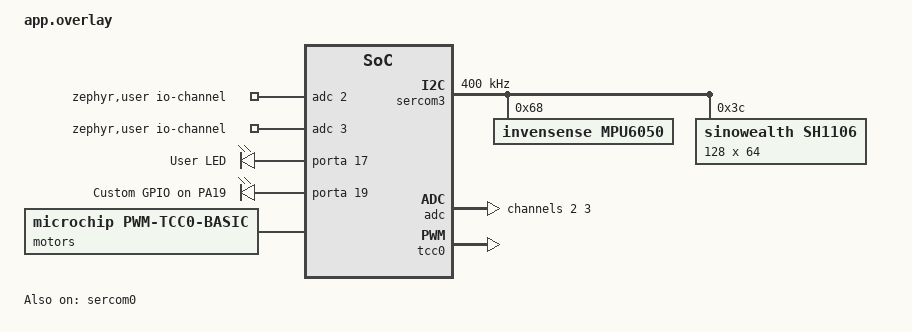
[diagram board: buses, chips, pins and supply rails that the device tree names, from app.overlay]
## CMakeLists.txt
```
cmake_minimum_required(VERSION 3.20)
find_package(Zephyr REQUIRED HINTS $ENV{ZEPHYR_BASE})
message(STATUS ">> Zephyr found at: ${ZEPHYR_BASE}")
message(STATUS ">> Using Board: ${BOARD}")
project(zbot12)
target_sources(app PRIVATE src/main.c)
```

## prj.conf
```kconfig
CONFIG_GPIO=y
# Enable UART Driver
CONFIG_SERIAL=y
#CONFIG_FPU=y
CONFIG_CBPRINTF_FP_SUPPORT=y

CONFIG_PWM=y
CONFIG_PWM_SAM0_TCC=y
#CONFIG_PWM_SAM0=y



# Direct printk and shell to the console
CONFIG_CONSOLE=y
CONFIG_UART_CONSOLE=y
CONFIG_RING_BUFFER=y
CONFIG_UART_INTERRUPT_DRIVEN=y

CONFIG_I2C=y
CONFIG_SENSOR=y
CONFIG_MPU6050=y
CONFIG_DISPLAY=y
CONFIG_SSD1306=y
#CONFIG_SH1106=y
#CONFIG_CFB_FONT_0508=y
CONFIG_CHARACTER_FRAMEBUFFER_USE_DEFAULT_FONTS=y


CONFIG_ADC=y

# If using LVGL for the UI:
#CONFIG_LVGL=y

CONFIG_LED=y
#CONFIG_LED_PWM=y


CONFIG_CHARACTER_FRAMEBUFFER=y
CONFIG_CHARACTER_FRAMEBUFFER_SHELL=n

CONFIG_HEAP_MEM_POOL_SIZE=2048

# add floating point printf support
#CONFIG_PICOLIBC=y
#CONFIG_PICOLIBC_IO_FLOAT=y

CONFIG_NEWLIB_LIBC=y
CONFIG_NEWLIB_LIBC_FLOAT_PRINTF=y
```

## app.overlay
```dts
/*
#include <zephyr/dt-bindings/gpio/gpio.h>
#include <zephyr/dt-bindings/pwm/pwm.h>
*/


/* this version works with the sh1106 1.3" OLED display */


/ {
	chosen {
		zephyr,console = &sercom0;
		zephyr,shell-uart = &sercom0;

		/* Link LVGL to the OLED */
		zephyr,display = &sh1106;
		/* zephyr,display = &ssd1306; */
	};

	aliases {
		led0 = &user_led;
		blip0 = &blip_gpio;
		motorleft = &motor_left;
		motorright = &motor_right;
	};

	
    zephyr,user {
        /* Map user aliases to the two ADC channels */
        io-channels = <&adc 2>, <&adc 3>;
    };



	leds {
		compatible = "gpio-leds";

		user_led: led_0 {
			gpios = <&porta 17 GPIO_ACTIVE_HIGH>;
			label = "User LED";
		};

		blip_gpio: custom_gpio_0 {
			gpios = <&porta 19 GPIO_ACTIVE_HIGH>;
			label = "Custom GPIO on PA19";
		};
	};

	motors {
		

		compatible = "microchip,pwm-tcc0-basic";
		status = "okay";
		
		motor_left: motor_left {
			/* PA08 20 kHz */
			pwms = <&tcc0 0 PWM_USEC(100)>;
			/* PA15 */
			dir-gpios = <&porta 15 GPIO_ACTIVE_HIGH>;
		};

		motor_right: motor_right {
			/* PA09 - 20 kHz */
			pwms = <&tcc0 1 PWM_USEC(100)>;
			/* PA20 */
			dir-gpios = <&porta 20 GPIO_ACTIVE_HIGH>;
		};
	};
};

&sercom0 {
	status = "okay";
	current-speed = <115200>;
	rxpo = <3>;
	txpo = <1>;

	pinctrl-0 = <&sercom0_uart_custom>;
	pinctrl-names = "default";
};

&sercom3 {
	status = "okay";
	compatible = "atmel,sam0-i2c";
	/* clock-frequency = <I2C_BITRATE_STANDARD>;*/
	clock-frequency = <400000>;
	#address-cells = <1>;
	#size-cells = <0>;

	mpu6050@68 {
		compatible = "invensense,mpu6050";
		reg = <0x68>;
		status = "okay";
	};

	/* ssd1306: ssd1306@3c */
	sh1106: ssd1306@3c {
		compatible = "sinowealth,sh1106";
		reg = <0x3c>;
		width = <128>;
		height = <64>;
		/* segment-offet = 0 for 0.96", 2 for SSH1106 */
		segment-offset = <2>;
		page-offset = <0>;
		display-offset = <0>;
		multiplex-ratio = <63>;
		prechargep = <0x22>;
		com-invdir;
		segment-remap;
		status = "okay";
	};
};




&adc {
    status = "okay";
	pinctrl-0 = <&adc_default>;
    pinctrl-names = "default";
    #address-cells = <1>;
    #size-cells = <0>;

    /* Channel 0: Sensor 1 on PB08 (AIN2) */
    channel@2 {
        reg = <2>;
        zephyr,gain = "ADC_GAIN_1";
        zephyr,reference = "ADC_REF_VDD_1_2"; /* VDDANA / 2 */
        zephyr,vref-mv = <1650>;
        zephyr,acquisition-time = <ADC_ACQ_TIME_DEFAULT>;
        zephyr,resolution = <12>;
        zephyr,oversampling = <2>; /* single sample for now */
        zephyr,input-positive = <2>; /* AIN2 -> PB08 */
    };

    /* Channel 1: Sensor 2 on PB09 (AIN3) */
    channel@3 {
        reg = <3>;
        zephyr,gain = "ADC_GAIN_1";
        zephyr,reference = "ADC_REF_VDD_1_2"; /* VDDANA / 2 */
        zephyr,vref-mv = <1650>;
        zephyr,acquisition-time = <ADC_ACQ_TIME_DEFAULT>;
        zephyr,resolution = <12>;
        zephyr,oversampling = <2>; /* single sample for now */
        zephyr,input-positive = <3>; /* AIN3 -> PB09 */
    };
};



&tcc0 {
	compatible = "atmel,sam0-tcc-pwm";
	status = "okay";
	prescaler = <8>;
	#pwm-cells = <2>;
	pinctrl-0 = <&tcc0_default>;
	pinctrl-names = "default";
};

&pinctrl {
	sercom0_uart_custom: sercom0_uart_custom {
		group1 {
			pinmux = <PA11C_SERCOM0_PAD3>,
				 <PA10C_SERCOM0_PAD2>;
		};
	};

	tcc0_default: tcc0_default {
		group1 {
			pinmux = <PA8E_TCC0_WO0>,
				 <PA9E_TCC0_WO1>;
		};
	};

	adc_default: adc_default {
		group1 {
			pinmux = <PB8B_ADC_AIN2>,
				 <PB9B_ADC_AIN3>;
		};
	};
};
```

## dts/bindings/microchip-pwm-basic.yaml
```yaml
description: pwm motor controller

compatible: "microchip,pwm-tcc0-basic"

child-binding:
  properties:
    pwms:
      type: phandle-array
      required: true

    dir-gpios:
      type: phandle-array
      required: true
```

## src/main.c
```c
/*
    project : zbot11
    version 1.2 with custom yaml binding to fix tcc0
    IR bounded roaming / no balance
    
    aug 2026


*/

#include <zephyr/device.h>
#include <zephyr/devicetree.h>
#include <zephyr/drivers/gpio.h>
#include <zephyr/drivers/pinctrl.h>
#include <zephyr/drivers/pwm.h>
#include <zephyr/drivers/adc.h>
#include <zephyr/drivers/sensor.h>
#include <zephyr/drivers/uart.h>
#include <zephyr/kernel.h>
#include <zephyr/sys/printk.h>

#include <math.h>
#include <stdio.h>
#include <zephyr/display/cfb.h>
#include <zephyr/drivers/display.h>



uint64_t  now,last_scan,last_update;

uint64_t  UPDATE_INTYERVAL = 1000; // display update rate
uint64_t  SCAN_INTERVAL = 2000;   // 500ms  IMU scan update

// global PID loop data
float pid_output;
float setpoint_angle,current_angle;


char oled_string[16];
uint32_t scan_count;
double imu_angle;
double bat_volt = 6.2;
int16_t ir_val,bat_lvl;


void gpio_init(void);
void update_oled(void);
void set_oled_font(void);
void blinky(void);
void serial_debug(void);
void pwm_init(void);
void set_motor_left(int power);
void set_motor_right(int power);
void roam(void);
void stop(void);
void foward(void);
void backward(void);
void turn_right(void);
void turn_left(void);

void adc_init(void);
void scan_adc(void);
uint16_t read_ir_sensor(void);
uint16_t read_bat_voltage(void);




void pwm_test(void);




// all of these global for now
static const struct gpio_dt_spec led = GPIO_DT_SPEC_GET(DT_ALIAS(led0), gpios);
static const struct gpio_dt_spec blip =
    GPIO_DT_SPEC_GET(DT_ALIAS(blip0), gpios);

const struct device *const imu_dev = DEVICE_DT_GET_ANY(invensense_mpu6050);
const struct device *display_dev = DEVICE_DT_GET(DT_CHOSEN(zephyr_display));

/* Define the structures for the Left Motor */
static const struct pwm_dt_spec pwm_l = PWM_DT_SPEC_GET(DT_ALIAS(motorleft));
static const struct gpio_dt_spec dir_l =
    GPIO_DT_SPEC_GET(DT_ALIAS(motorleft), dir_gpios);

/* Define the structures for the Right Motor */
static const struct pwm_dt_spec pwm_r = PWM_DT_SPEC_GET(DT_ALIAS(motorright));
static const struct gpio_dt_spec dir_r =
    GPIO_DT_SPEC_GET(DT_ALIAS(motorright), dir_gpios);


// adsc channels
static const struct adc_dt_spec adc_channel_1 = ADC_DT_SPEC_GET_BY_IDX(DT_PATH(zephyr_user), 0);
static const struct adc_dt_spec adc_channel_2 = ADC_DT_SPEC_GET_BY_IDX(DT_PATH(zephyr_user), 1);

static int16_t sample_buffer1;
static int16_t sample_buffer2;

static struct adc_sequence sequence_1 = {
	.buffer = &sample_buffer1,
	.buffer_size = sizeof(sample_buffer1),
};

static struct adc_sequence sequence_2 = {
	.buffer = &sample_buffer2,
	.buffer_size = sizeof(sample_buffer2),
};




static inline void blip_on(void) {gpio_pin_set_dt(&blip, 1);}
static inline void blip_off(void) {gpio_pin_set_dt(&blip, 0);}

void main(void) 
{

  last_scan = 0;

  gpio_init();
  pwm_init();
  stop();
  adc_init();

  cfb_framebuffer_init(display_dev);

  /*
  if (!device_is_ready(display_dev)) 
  {

    printf("Device %s is not ready\n", display_dev->name);
    // error_blink();
    return;
  }

  if (!device_is_ready(imu_dev)) {
    printf(" %s is not ready\n", imu_dev->name);
    
    // error_blink();
    
    return;
  }
*/
  

  // clear framebuffer
  // 5X8 font not being compiled in, no reason found yet 2026.06.29
  // set_oled_font();
  
  cfb_framebuffer_clear(display_dev, true);
  cfb_framebuffer_finalize(display_dev);

  cfb_print(display_dev, "Hello", 1, 1);
  cfb_framebuffer_finalize(display_dev);

  // printf("hello\r\n");

  // pwm_test();


  while(1)
    {
      
      now = k_uptime_get();

      if((now - last_scan) > SCAN_INTERVAL)
        {
          scan_count++;
          last_scan = now;
          printf("scan:%05u: \r\n",scan_count);

          scan_adc();
          // roam();
          // bat_lvl = read_bat_voltage();
          // update_oled();
          blinky();
        }  


    }  // end while 1
  
} // end main



void pwm_test(void)
{

  
  printf("pwm test 1 - 5s motor right f 25 motor left 0\r\n");
  
  set_motor_right(25);
  set_motor_left(0);

  k_sleep(K_MSEC(5000));

  set_motor_right(0);
  set_motor_left(0);

  printf("end pwm test 1\r\n");

  printf("pwm test 2 - 5s motor right 0 motor left 25 f \r\n");
  
  set_motor_right(0);
  set_motor_left(-25);

  k_sleep(K_MSEC(5000));
  
  set_motor_right(0);
  set_motor_left(0);

  printf("end test 2\r\n");

  printf("test 3 - foward both wheels\r\n");
  set_motor_right(35);
  set_motor_left(-35);

  k_sleep(K_MSEC(5000));

  set_motor_right(0);
  set_motor_left(0);
  
  printf("end pwm test 3\r\n");


}


#define FWD_SPEED   35
#define REV_SPEED   35

void stop(void)
{

  set_motor_right(0);
  set_motor_left(0);

}

void foward(void)
{

  set_motor_right(FWD_SPEED);
  set_motor_left(-FWD_SPEED);

}


void backward(void)
{

  set_motor_right(-REV_SPEED);
  set_motor_left(REV_SPEED);
  
}


void turn_right(void)
{
  
  set_motor_left(-FWD_SPEED);
  set_motor_right(0);
  k_sleep(K_MSEC(500));

}


void turn_left(void)
{
  
  set_motor_left(0);
  set_motor_right(FWD_SPEED);
  k_sleep(K_MSEC(500));

}


#define ROAM_START          1
#define ROAM_FORWARD        2
#define ROAM_WALL_DETECT    3
#define ROAM_RECOVER        4
#define ROAM_STOP           5


uint8_t roam_state = ROAM_START;
// prox detect adc count for 60mm target distance
// keep in ADC counts, no need to convert to millivolts since everything is relative
#define PROX_LIMIT  1800    


void roam(void)
{

  switch(roam_state)
    {

        case ROAM_START:    // check forward path, go into RECOVER mode if needed
          if(read_ir_sensor() > PROX_LIMIT)
            roam_state = ROAM_WALL_DETECT;
          else 
            {
              // start moving forward
              foward();
              roam_state = ROAM_FORWARD;
            }

        break;
        
        

      case ROAM_FORWARD:    // move forward intil we detetc something
            if(read_ir_sensor() > PROX_LIMIT)
              {
                
                stop();
                roam_state = ROAM_WALL_DETECT;
              }
     
        break;



      case ROAM_WALL_DETECT:
         backward();
         k_sleep(K_MSEC(500));
         stop();
         k_sleep(K_MSEC(100));
         turn_left();
         // k_sleep(K_MSEC(500));    
         stop();
         k_sleep(K_MSEC(100));    
         foward();
         roam_state = ROAM_FORWARD;
         break;

      default:  // should vever get here
          stop();

    } // end switch (roam_state)


} // end roam


void adc_init(void)
{
  int ret;
  
  ret = adc_channel_setup_dt(&adc_channel_1);
  if(ret != 0)
  {
  
    printf("adc_init fail %d\r\n",ret);
    while(1);
  }
  printf("chan 1 %d\r\n",ret);
  adc_sequence_init_dt(&adc_channel_1, &sequence_1);


  ret = adc_channel_setup_dt(&adc_channel_2);
  if(ret != 0)
  {
  
    printf("adc_init fail %d\r\n",ret);
    while(1);
  }

  printf("chan 2 %d\r\n",ret);
  adc_sequence_init_dt(&adc_channel_2, &sequence_2);

}

void scan_adc(void)
{
  int ret1,ret2,ret3;
  
  ret1 = adc_channel_setup_dt(&adc_channel_1);
  ret2 = adc_sequence_init_dt(&adc_channel_1, &sequence_1);
  ret3 = adc_read(adc_channel_1.dev, &sequence_1);

  printf("sts1 %d sts2 %d sts3 %d   sample_buffer 1 %d\r\n",ret1,ret2,ret3,sample_buffer1);

  ret1 = adc_channel_setup_dt(&adc_channel_2);
  ret2 = adc_sequence_init_dt(&adc_channel_1, &sequence_2);
  ret3 = adc_read(adc_channel_1.dev, &sequence_2);
  printf("sts1 %d sts2 %d sts3 %d sample_buffer 2 %d\r\n",ret1,ret2,ret3,sample_buffer2);
  printf("\r\n");
}



uint16_t read_ir_sensor(void)
{

  int ret;
  
  adc_channel_setup_dt(&adc_channel_1);
  adc_sequence_init_dt(&adc_channel_1, &sequence_1);
  ret = adc_read(adc_channel_1.dev, &sequence_1);
 
  printf("sts ch 1 %d  sample_buffer %d\r\n",ret,sample_buffer1);

  if(ret != 0)
    printf("adc read error\r\n");
  ir_val = sample_buffer1;   // hand off to global
  return(sample_buffer1);

}

uint16_t read_bat_voltage(void)
{

  int ret;
  
  adc_sequence_init_dt(&adc_channel_2, &sequence_2);
  ret = adc_read(adc_channel_2.dev, &sequence_2);
  printf("sts ch 2 %d  sample_buffer %d\r\n",ret,sample_buffer2);
  return(sample_buffer2);


}



void blinky(void)
{
  
  static unsigned char led_state = false;
 //  update blinky
      if (led_state) {
        gpio_pin_set_dt(&led, 0);
        led_state = false;
      } else {
        gpio_pin_set_dt(&led, 1);
        led_state = true;
      }

}

void serial_debug(void)
{
   
      return;

   
}


void gpio_init(void) {
  if (!gpio_is_ready_dt(&led)) {
    return;
  }
  /* Configure the pin as output and initialize it to 'off' */
  gpio_pin_configure_dt(&led, GPIO_OUTPUT_INACTIVE);

  if (!gpio_is_ready_dt(&blip)) {
    return;
  }
  /* Configure the pin as output and initialize it to 'off' */
  gpio_pin_configure_dt(&blip, GPIO_OUTPUT_INACTIVE);
}

void update_oled(void) {
  
  cfb_framebuffer_clear(display_dev, true);
  cfb_framebuffer_finalize(display_dev);

  sprintf(oled_string, "scan %05u", scan_count);
  cfb_print(display_dev, oled_string, 1, 1);
    
  sprintf(oled_string, "adc %d", ir_val);
  cfb_print(display_dev, oled_string, 1, 16);

  if(roam_state == ROAM_START)
    {
      
      sprintf(oled_string, "START");
      cfb_print(display_dev, oled_string, 1, 32);

    }
    else if (roam_state == ROAM_FORWARD)
    {
      
      sprintf(oled_string, "FORWARD");
      cfb_print(display_dev, oled_string, 1, 32);

    }

    else if(roam_state == ROAM_WALL_DETECT)
    {
      sprintf(oled_string, "WALL !");
      cfb_print(display_dev, oled_string, 1, 32);

    }

  
  // update frame buffer
  cfb_framebuffer_finalize(display_dev);

}

void set_oled_font(void)
{

    uint16_t rows;
    uint8_t font_width, font_height;
    int font_idx = -1;
    int num_fonts = cfb_get_numof_fonts(display_dev);

    cfb_framebuffer_clear(display_dev, true);

    /* * Select the highly space-efficient 5x8 font.
     * CFB numbers fonts by index. We iterate to find the 5x8 dimension.
     */
    

    for (int i = 0; i < num_fonts; i++) {
        cfb_get_font_size(display_dev, i, &font_width, &font_height);
        printf("f %d w %d h %d\r\n",i,font_width,font_height);
        if (font_width == 5 && font_height == 8) {
            font_idx = i;
            break;
        }
    }

   
    printf("font index %d\n\r",font_idx);


        // Set the active font to our 5x8 choice
    cfb_framebuffer_set_font(display_dev, font_idx);

}

void pwm_init(void) {
  // Initialize PWMs
  if (!pwm_is_ready_dt(&pwm_l) || !pwm_is_ready_dt(&pwm_r)) {
    printf("--> pwm init fail\r\n");
    return;
  }

  // Initialize Directions
  gpio_pin_configure_dt(&dir_l, GPIO_OUTPUT_INACTIVE);
  gpio_pin_configure_dt(&dir_r, GPIO_OUTPUT_INACTIVE);

  printf("--> pwm init pass\r\n");


}


void set_motor_left(int power) {

  if (power > 100)
    power = 100; // clip to 100%

  if (power < -100)
    power = -100; // clip to -100%

  if (power == 0) {
    gpio_pin_set_dt(&dir_l, 1);
    pwm_set_pulse_dt(&pwm_l, 0);
  }

  if (power > 0) {
    gpio_pin_set_dt(&dir_l, 1);
    uint32_t pulse = (pwm_l.period / 100) * (uint32_t)power;
    pwm_set_pulse_dt(&pwm_l, pulse);

  } else {
    gpio_pin_set_dt(&dir_l, 0);
    power = -power; // Absolute value for PWM
    uint32_t pulse = (pwm_l.period / 100) * (uint32_t)power;
    pwm_set_pulse_dt(&pwm_l, pulse);
  }
}



void set_motor_right(int power) {
  if (power > 100)
    power = 100; // clip to 100%

  if (power < -100)
    power = -100; // clip to -100%

  if (power == 0) {
    gpio_pin_set_dt(&dir_r, 1);
    pwm_set_pulse_dt(&pwm_r, 0);
  }

  if (power > 0) {
    gpio_pin_set_dt(&dir_r, 1);
    uint32_t pulse = (pwm_r.period / 100) * (uint32_t)power;
    pwm_set_pulse_dt(&pwm_r, pulse);

  } else {
    gpio_pin_set_dt(&dir_r, 0);
    power = -power; // Absolute value for PWM
    uint32_t pulse = (pwm_r.period / 100) * (uint32_t)power;
    pwm_set_pulse_dt(&pwm_r, pulse);
  }
}


void square_wave(void)
{

    // squarewave blip
    /*
    gpio_pin_set_dt(&blip, 1);
    gpio_pin_set_dt(&blip, 0);
    gpio_pin_set_dt(&blip, 1);
    gpio_pin_set_dt(&blip, 0);
    */

}
```
